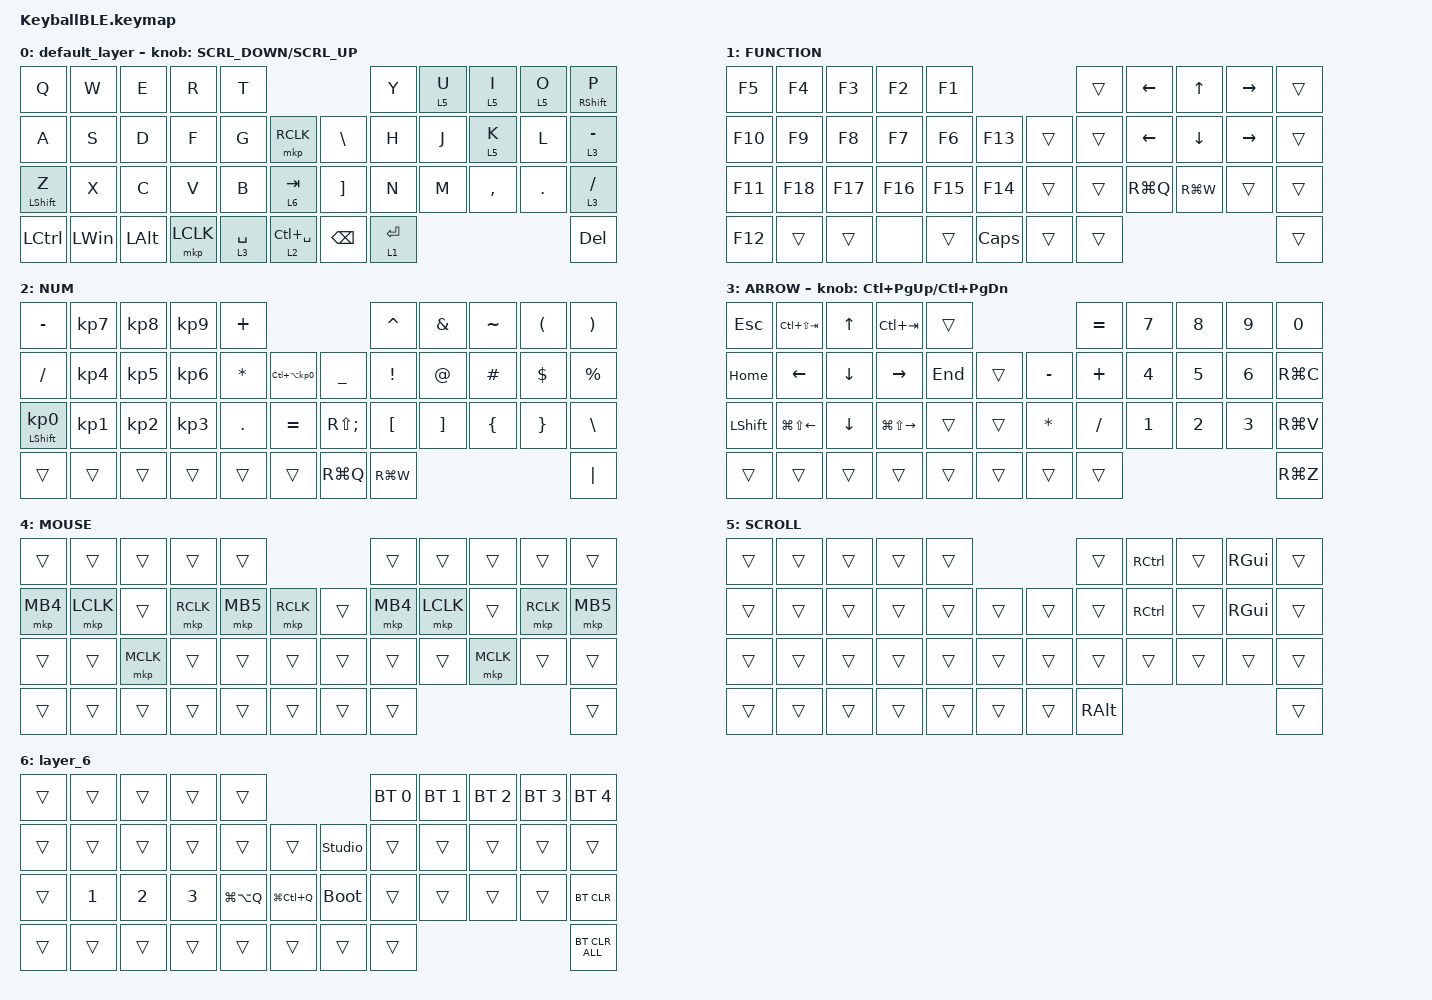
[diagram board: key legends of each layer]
#define ZMK_POINTING_DEFAULT_SCRL_VAL 120    // default: 10

#include <behaviors.dtsi>
#include <dt-bindings/zmk/bt.h>
#include <dt-bindings/zmk/keys.h>
#include <dt-bindings/zmk/pointing.h>

#define MOUSE 4
#define SCROLL 5
#define NUM 6

&mt {
    flavor = "balanced";
    quick-tap-ms = <0>;
};

/ {
    combos {
        compatible = "zmk,combos";

        double_quotation {
            bindings = <&kp DOUBLE_QUOTES>;
            key-positions = <20 21>;
        };
    };

    macros {
        to_layer_0: to_layer_0 {
            compatible = "zmk,behavior-macro-one-param";
            #binding-cells = <1>;
            bindings = <&to 0 &macro_param_1to1 &kp MACRO_PLACEHOLDER>;
            label = "TO_LAYER_0";
        };
    };

    behaviors {
        lt_to_layer_0: lt_to_layer_0 {
            compatible = "zmk,behavior-hold-tap";
            label = "LAYER_TAP_TO_0";
            bindings = <&mo>, <&to_layer_0>;

            #binding-cells = <2>;
            tapping-term-ms = <200>;
        };

        ROTATE: ROTATE {
            compatible = "zmk,behavior-sensor-rotate-var";
            label = "ROTATE";
            #sensor-binding-cells = <2>;
            bindings = <&msc>, <&msc>;

            tap-ms = <20>;
        };
    };

    keymap {
        compatible = "zmk,keymap";

        default_layer {
            bindings = <
&kp Q             &kp W         &kp E         &kp R      &kp T                                                     &kp Y        &lt 5 U  &lt 5 I    &lt 5 O  &mt RIGHT_SHIFT P
&kp A             &kp S         &kp D         &kp F      &kp G        &mkp RCLK                 &kp BACKSLASH      &kp H        &kp J    &lt 5 K    &kp L    &lt 3 MINUS
&mt LEFT_SHIFT Z  &kp X         &kp C         &kp V      &kp B        &lt_to_layer_0 6 TAB      &kp RIGHT_BRACKET  &kp N        &kp M    &kp COMMA  &kp DOT  &lt 3 SLASH
&kp LCTRL         &kp LEFT_WIN  &kp LEFT_ALT  &mkp LCLK  &lt 3 SPACE  &lt 2 LC(SPACE)           &kp BACKSPACE      &lt 1 ENTER                               &kp DEL
            >;

            sensor-bindings = <&ROTATE SCRL_DOWN SCRL_UP>;
        };

        FUNCTION {
            bindings = <
&kp F5   &kp F4   &kp F3   &kp F2   &kp F1                             &trans  &kp LEFT_ARROW  &kp UP_ARROW    &kp RIGHT_ARROW  &trans
&kp F10  &kp F9   &kp F8   &kp F7   &kp F6   &kp F13           &trans  &trans  &kp LEFT_ARROW  &kp DOWN_ARROW  &kp RIGHT_ARROW  &trans
&kp F11  &kp F18  &kp F17  &kp F16  &kp F15  &kp F14           &trans  &trans  &kp RG(Q)       &kp RG(W)       &trans           &trans
&kp F12  &trans   &trans   &none    &trans   &kp CAPSLOCK      &trans  &trans                                                   &trans
            >;
        };

        NUM {
            bindings = <
&kp MINUS                   &kp KP_NUMBER_7  &kp KP_NUMBER_8  &kp KP_NUMBER_9  &kp PLUS                                                   &kp CARET         &kp AMPERSAND      &kp TILDE       &kp LEFT_PARENTHESIS  &kp RIGHT_PARENTHESIS
&kp SLASH                   &kp KP_NUMBER_4  &kp KP_NUMBER_5  &kp KP_NUMBER_6  &kp ASTERISK  &kp LC(LA(KP_NUMBER_0))      &kp UNDERSCORE  &kp EXCLAMATION   &kp AT_SIGN        &kp HASH        &kp DOLLAR            &kp PERCENT
&mt LEFT_SHIFT KP_NUMBER_0  &kp KP_NUMBER_1  &kp KP_NUMBER_2  &kp KP_NUMBER_3  &kp PERIOD    &kp EQUAL                    &kp RS(SEMI)    &kp LEFT_BRACKET  &kp RIGHT_BRACKET  &kp LEFT_BRACE  &kp RIGHT_BRACE       &kp BACKSLASH
&trans                      &trans           &trans           &trans           &trans        &trans                       &kp RG(Q)       &kp RG(W)                                                                  &kp PIPE
            >;
        };

        ARROW {
            bindings = <
&kp ESCAPE      &kp LC(LS(TAB))         &kp UP_ARROW    &kp LC(TAB)              &trans                             &kp EQUAL  &kp NUMBER_7  &kp NUMBER_8  &kp NUMBER_9  &kp NUMBER_0
&kp HOME        &kp LEFT_ARROW          &kp DOWN_ARROW  &kp RIGHT_ARROW          &kp END  &trans      &kp MINUS     &kp PLUS   &kp NUMBER_4  &kp NUMBER_5  &kp NUMBER_6  &kp RG(C)
&kp LEFT_SHIFT  &kp LG(LS(LEFT_ARROW))  &kp DOWN_ARROW  &kp LG(LS(RIGHT_ARROW))  &trans   &trans      &kp ASTERISK  &kp SLASH  &kp NUMBER_1  &kp NUMBER_2  &kp NUMBER_3  &kp RG(V)
&trans          &trans                  &trans          &trans                   &trans   &trans      &trans        &trans                                               &kp RG(Z)
            >;

            sensor-bindings = <&inc_dec_kp LC(PAGE_UP) LC(PAGE_DOWN)>;
        };

        MOUSE {
            bindings = <
&trans    &trans     &trans     &trans     &trans                           &trans    &trans     &trans     &trans     &trans
&mkp MB4  &mkp LCLK  &trans     &mkp RCLK  &mkp MB5  &mkp RCLK      &trans  &mkp MB4  &mkp LCLK  &trans     &mkp RCLK  &mkp MB5
&trans    &trans     &mkp MCLK  &trans     &trans    &trans         &trans  &trans    &trans     &mkp MCLK  &trans     &trans
&trans    &trans     &trans     &trans     &trans    &trans         &trans  &trans                                     &trans
            >;
        };

        SCROLL {
            bindings = <
&trans  &trans  &trans  &trans  &trans                      &trans         &kp RIGHT_CONTROL  &trans  &kp RGUI       &trans
&trans  &trans  &trans  &trans  &trans  &trans      &trans  &trans         &kp RIGHT_CONTROL  &trans  &kp RIGHT_GUI  &trans
&trans  &trans  &trans  &trans  &trans  &trans      &trans  &trans         &trans             &trans  &trans         &trans
&trans  &trans  &trans  &trans  &trans  &trans      &trans  &kp RIGHT_ALT                                            &trans
            >;
        };

        layer_6 {
            bindings = <
&trans  &trans        &trans        &trans        &trans                                            &bt BT_SEL 0  &bt BT_SEL 1  &bt BT_SEL 2  &bt BT_SEL 3  &bt BT_SEL 4
&trans  &trans        &trans        &trans        &trans         &trans             &studio_unlock  &trans        &trans        &trans        &trans        &trans
&trans  &kp NUMBER_1  &kp NUMBER_2  &kp NUMBER_3  &kp LG(LA(Q))  &kp LG(LC(Q))      &bootloader     &trans        &trans        &trans        &trans        &bt BT_CLR
&trans  &trans        &trans        &trans        &trans         &trans             &trans          &trans                                                  &bt BT_CLR_ALL
            >;
        };
    };
};
